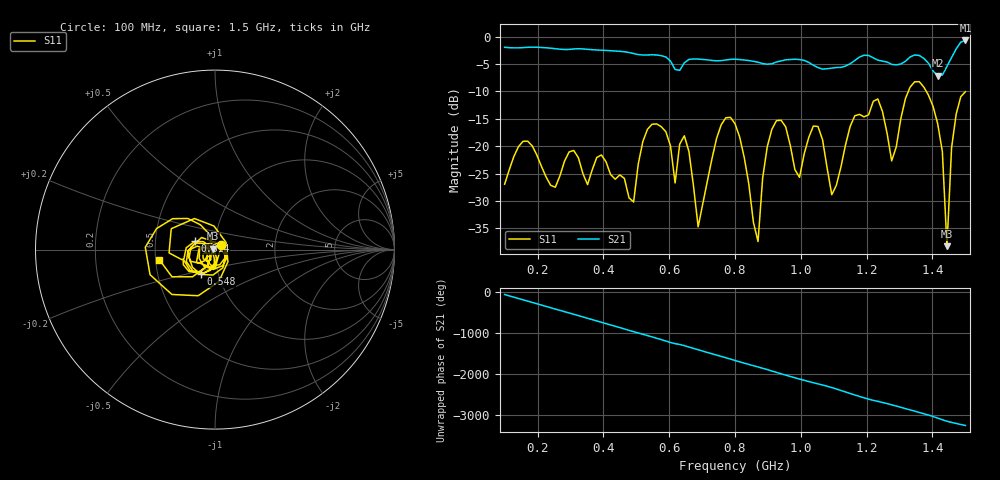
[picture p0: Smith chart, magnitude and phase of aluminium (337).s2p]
! NanoVNA-App
! Date: 2025-09-25 14:57:54
! Start: 100MHz Stop: 1,5GHz Points: 101
! S-Parameter data: F S11 S21 S12 S22
# Hz S RI R 50
!  Frequency  S11_Real  S11_Imag  S21_Real  S21_Imag  S12_Real  S12_Imag  S22_Real  S22_Imag
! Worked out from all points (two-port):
!   101 points, 100 MHz to 1.5 GHz, reference 50 ohm
!   highest |S21| = -0.67 dB at 1.5 GHz (marker M1); lowest = -7.1 dB at 1.416 GHz (marker M2)
!   |S21| within 3 dB of the highest: start of sweep to 589 MHz; 1.459 GHz to end of sweep (the widest 2 of 4)
!   lowest |S11| = -38.3 dB at 1.444 GHz (marker M3), VSWR 1.02, Z = 48.9 + j0.466 ohm
!   |S11| at or under -10 dB: start of sweep to 1.327 GHz; 1.381 GHz to end of sweep
!   S12 and S22 are empty: the file has one direction only
!   S11 on the Smith chart (normalised r, x): 100 MHz: 1.07, +0.06; 548 MHz: 0.82, -0.23; 814 MHz: 0.79, +0.07; 1.5 GHz: 0.52, -0.07
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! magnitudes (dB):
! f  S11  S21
! 100 MHz  -27.0  -1.9
! 338 MHz  -25.0  -2.2
! 492 MHz  -30.2  -3.1
! 548 MHz  -16.0  -3.3
! 576 MHz  -16.4  -3.5
! 618 MHz  -26.7  -6.0
! 646 MHz  -18.1  -4.8
! 688 MHz  -34.7  -4.1
! 800 MHz  -15.9  -4.1
! 814 MHz  -18.3  -4.2
! 870 MHz  -37.4  -4.7
! 912 MHz  -16.9  -4.9
! 996 MHz  -25.7  -4.2
! 1.038 GHz  -16.3  -5.2
! 1.094 GHz  -28.9  -5.7
! 1.22 GHz  -11.8  -3.8
! 1.276 GHz  -22.7  -5.0
! 1.346 GHz  -8.2  -3.3
! 1.416 GHz  -15.9  -7.1
! 1.444 GHz  -38.3  -5.4
! 1.458 GHz  -20.3  -3.8
! 1.5 GHz  -10.0  -0.7
